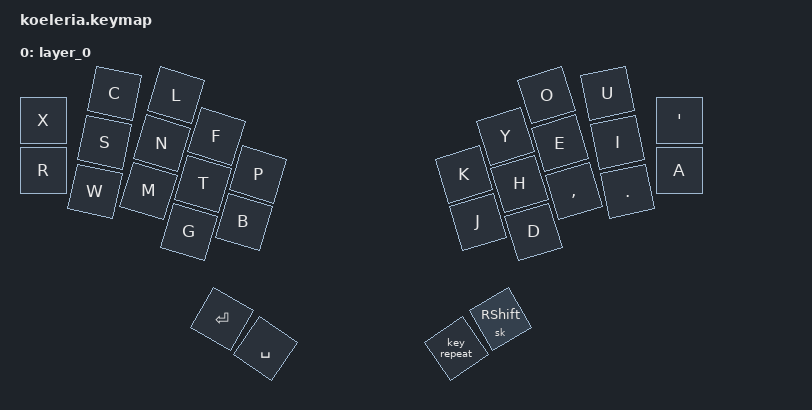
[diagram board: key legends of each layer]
#include <behaviors.dtsi>
#include <dt-bindings/zmk/keys.h>

/ {
   combos {
        compatible = "zmk,combos";

        v {
            bindings = <&kp V>;
            key-positions = <1 2>;
        };

        q {
            bindings = <&kp Q>;
            key-positions = <2 3>;
        };

        z {
            bindings = <&kp Z>;
            key-positions = <20 21>;
        };
    };

    keymap {
        compatible = "zmk,keymap";

        layer_0 {
            bindings = <
&kp X  &kp C  &kp L  &kp F      &kp P        &kp K        &kp Y      &kp O      &kp U    &kp APOS
&kp R  &kp S  &kp N  &kp T      &kp B        &kp J        &kp H      &kp E      &kp I    &kp A
       &kp W  &kp M  &kp G                                &kp D      &kp COMMA  &kp DOT
                     &kp ENTER  &kp SPACE    &key_repeat  &sk RSHFT
            >;
        };
    };
};
